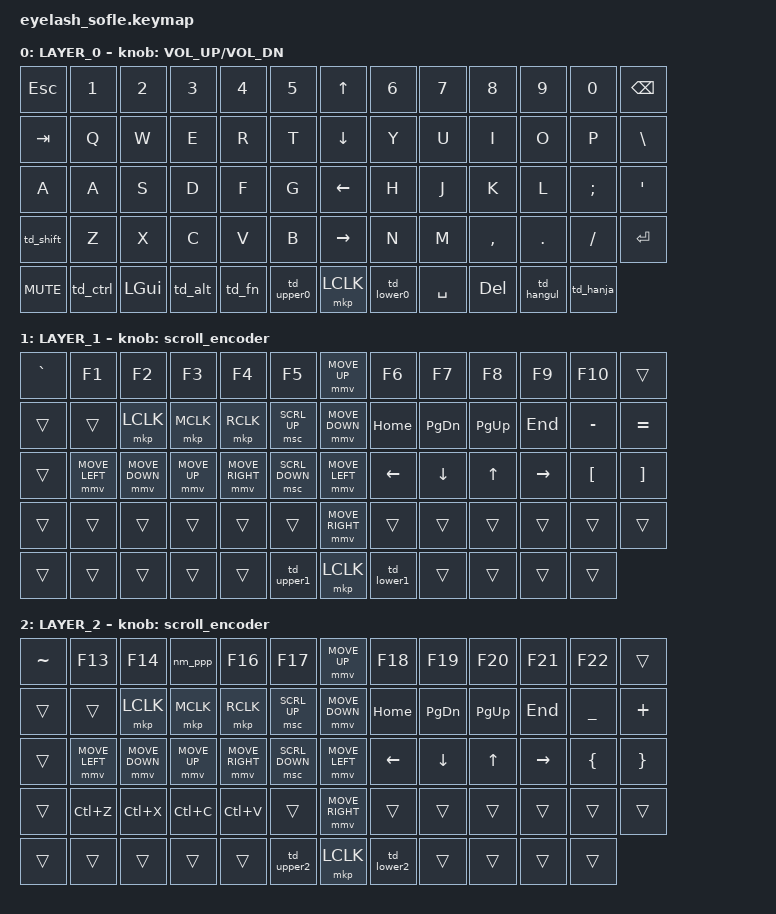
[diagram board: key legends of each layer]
#define ZMK_POINTING_DEFAULT_MOVE_VAL 1200  // 600
#define ZMK_POINTING_DEFAULT_SCRL_VAL 25   // 10

#include <input/processors.dtsi>
#include <zephyr/dt-bindings/input/input-event-codes.h>
#include <behaviors.dtsi>
#include <dt-bindings/zmk/keys.h>
#include <dt-bindings/zmk/pointing.h>

&mmv_input_listener { input-processors = <&zip_xy_scaler 2 1>; };

&msc_input_listener { input-processors = <&zip_scroll_scaler 2 1>; };

&msc {
    acceleration-exponent = <1>;      // 0
    time-to-max-speed-ms = <100>;       // 300
    delay-ms = <0>;                   // 0
};

&mmv {
    time-to-max-speed-ms = <500>;
    acceleration-exponent = <1>;
    trigger-period-ms = <16>;
};

/ {
    scroll_encoder: scroll_encoder {
        compatible = "zmk,behavior-sensor-rotate";
        #sensor-binding-cells = <0>;
        bindings = <&msc SCRL_DOWN>, <&msc SCRL_UP>;

        tap-ms = <100>;
    };

    td_ctrl: td_ctrl {
        compatible = "zmk,behavior-tap-dance";
        label = "TD_CTRL";
        #binding-cells = <0>;
        bindings = <&kp LEFT_CONTROL>, <&sk LEFT_CONTROL>, <&kt LEFT_CONTROL>;

        tapping-term-ms = <300>;
    };

    td_alt: td_alt {
        compatible = "zmk,behavior-tap-dance";
        label = "TD_ALT";
        #binding-cells = <0>;
        bindings = <&kp LEFT_ALT>, <&sk LEFT_ALT>, <&kt LEFT_ALT>;

        tapping-term-ms = <300>;
    };

    td_shift: td_shift {
        compatible = "zmk,behavior-tap-dance";
        label = "TD_SHIFT";
        #binding-cells = <0>;
        bindings = <&kp LEFT_SHIFT>, <&sk LEFT_SHIFT>, <&kt LEFT_SHIFT>;

        tapping-term-ms = <300>;
    };

    td_upper0: td_upper0 {
        compatible = "zmk,behavior-tap-dance";
        label = "TD_UPPER0";
        #binding-cells = <0>;
        tapping-term-ms = <300>;
        bindings = <&mo 1>, <&to 1>, <&to 0>;
    };

    td_upper1: td_upper1 {
        compatible = "zmk,behavior-tap-dance";
        label = "TD_UPPER1";
        #binding-cells = <0>;
        tapping-term-ms = <300>;
        bindings = <&to 0>, <&to 2>, <&kp ESCAPE>;
    };

    td_upper2: td_upper2 {
        compatible = "zmk,behavior-tap-dance";
        label = "TD_UPPER2";
        #binding-cells = <0>;
        tapping-term-ms = <300>;
        bindings = <&to 0>, <&to 0>, <&kp ESCAPE>;
    };

    td_lower0: td_lower0 {
        compatible = "zmk,behavior-tap-dance";
        label = "TD_LOWER0";
        #binding-cells = <0>;
        tapping-term-ms = <300>;
        bindings = <&mo 2>, <&to 2>, <&to 0>;
    };

    td_lower1: td_lower1 {
        compatible = "zmk,behavior-tap-dance";
        label = "TD_LOWER1";
        #binding-cells = <0>;
        tapping-term-ms = <300>;
        bindings = <&to 0>, <&to 0>, <&kp ESCAPE>;
    };

    td_lower2: td_lower2 {
        compatible = "zmk,behavior-tap-dance";
        label = "TD_LOWER2";
        #binding-cells = <0>;
        tapping-term-ms = <300>;
        bindings = <&to 0>, <&to 1>, <&kp ESCAPE>;
    };

    td_fn: td_fn {
        compatible = "zmk,behavior-tap-dance";
        label = "TD_FN";
        #binding-cells = <0>;
        tapping-term-ms = <300>;
        bindings = <&kp LCTRL>, <&mn_altspace>;
    };

    td_hangul: td_hangul {
        compatible = "zmk,behavior-tap-dance";
        label = "TD_HANGUL";
        #binding-cells = <0>;
        tapping-term-ms = <300>;
        bindings = <&kp LANGUAGE_1>, <&mn_hanspace>;
    };

    td_hanja: td_hanja {
        compatible = "zmk,behavior-tap-dance";
        label = "TD_HANJA";
        #binding-cells = <0>;
        bindings = <&kp LANGUAGE_2>, <&kp LA(M)>;

        tapping-term-ms = <300>;
    };

    behaviors {
    };

    macros {
        mn_altspace: mn_altspace {
            compatible = "zmk,behavior-macro";
            #binding-cells = <0>;
            bindings = <&kp LA(SPACE)>;
            label = "MN_ALTSPACE";
        };

        mn_hanspace: mn_hanspace {
            compatible = "zmk,behavior-macro";
            #binding-cells = <0>;
            bindings = <&kp LANGUAGE_1 &kp SPACE>;
            label = "MN_HANSPACE";
        };

        nm_ppp: nm_ppp {
            compatible = "zmk,behavior-macro";
            #binding-cells = <0>;
            bindings = <&none &kp N1 &kp G &kp P &kp F &kp V &kp M &kp E &kp P &kp T &kp M &kp Z &kp M &kp EXCL>;
            label = "NM_PPP";
        };
    };

    keymap {
        compatible = "zmk,keymap";

        layer_0 {
            bindings = <
&kp ESC     &kp N1    &kp N2        &kp N3   &kp N4  &kp N5        &kp UP_ARROW     &kp N6      &kp N7     &kp N8      &kp N9      &kp N0     &kp BACKSPACE
&kp TAB     &kp Q     &kp W         &kp E    &kp R   &kp T         &kp DOWN_ARROW   &kp Y       &kp U      &kp I       &kp O       &kp P      &kp BSLH
&kp A       &kp A     &kp S         &kp D    &kp F   &kp G         &kp LEFT_ARROW   &kp H       &kp J      &kp K       &kp L       &kp SEMI   &kp APOS
&td_shift   &kp Z     &kp X         &kp C    &kp V   &kp B         &kp RIGHT_ARROW  &kp N       &kp M      &kp COMMA   &kp DOT     &kp FSLH   &kp ENTER
&kp C_MUTE  &td_ctrl  &kp LEFT_GUI  &td_alt  &td_fn  &td_upper0    &mkp LCLK        &td_lower0  &kp SPACE  &kp DELETE  &td_hangul  &td_hanja
            >;

            sensor-bindings = <&inc_dec_kp C_VOLUME_UP C_VOL_DN>;
            display-name = "LAYER_0";
        };

        layer_1 {
            bindings = <
&kp GRAVE  &kp F1          &kp F2          &kp F3        &kp F4           &kp F5            &mmv MOVE_UP     &kp F6      &kp F7     &kp F8     &kp F9     &kp F10           &trans
&trans     &trans          &mkp LCLK       &mkp MCLK     &mkp RCLK        &msc SCRL_UP      &mmv MOVE_DOWN   &kp HOME    &kp PG_DN  &kp PG_UP  &kp END    &kp MINUS         &kp EQUAL
&trans     &mmv MOVE_LEFT  &mmv MOVE_DOWN  &mmv MOVE_UP  &mmv MOVE_RIGHT  &msc SCRL_DOWN    &mmv MOVE_LEFT   &kp LEFT    &kp DOWN   &kp UP     &kp RIGHT  &kp LEFT_BRACKET  &kp RIGHT_BRACKET
&trans     &trans          &trans          &trans        &trans           &trans            &mmv MOVE_RIGHT  &trans      &trans     &trans     &trans     &trans            &trans
&trans     &trans          &trans          &trans        &trans           &td_upper1        &mkp LCLK        &td_lower1  &trans     &trans     &trans     &trans
            >;

            display-name = "LAYER_1";
            sensor-bindings = <&scroll_encoder>;
        };

        layer_2 {
            bindings = <
&kp TILDE  &kp F13         &kp F14         &nm_ppp       &kp F16          &kp F17           &mmv MOVE_UP     &kp F18         &kp F19         &kp F20       &kp F21    &kp F22    &trans
&trans     &trans          &mkp LCLK       &mkp MCLK     &mkp RCLK        &msc SCRL_UP      &mmv MOVE_DOWN   &kp HOME        &kp PAGE_DOWN   &kp PAGE_UP   &kp END    &kp UNDER  &kp PLUS
&trans     &mmv MOVE_LEFT  &mmv MOVE_DOWN  &mmv MOVE_UP  &mmv MOVE_RIGHT  &msc SCRL_DOWN    &mmv MOVE_LEFT   &kp LEFT_ARROW  &kp DOWN_ARROW  &kp UP_ARROW  &kp RIGHT  &kp LBRC   &kp RBRC
&trans     &kp LC(Z)       &kp LC(X)       &kp LC(C)     &kp LC(V)        &trans            &mmv MOVE_RIGHT  &trans          &trans          &trans        &trans     &trans     &trans
&trans     &trans          &trans          &trans        &trans           &td_upper2        &mkp LCLK        &td_lower2      &trans          &trans        &trans     &trans
            >;

            display-name = "LAYER_2";
            sensor-bindings = <&scroll_encoder>;
        };
    };
};
